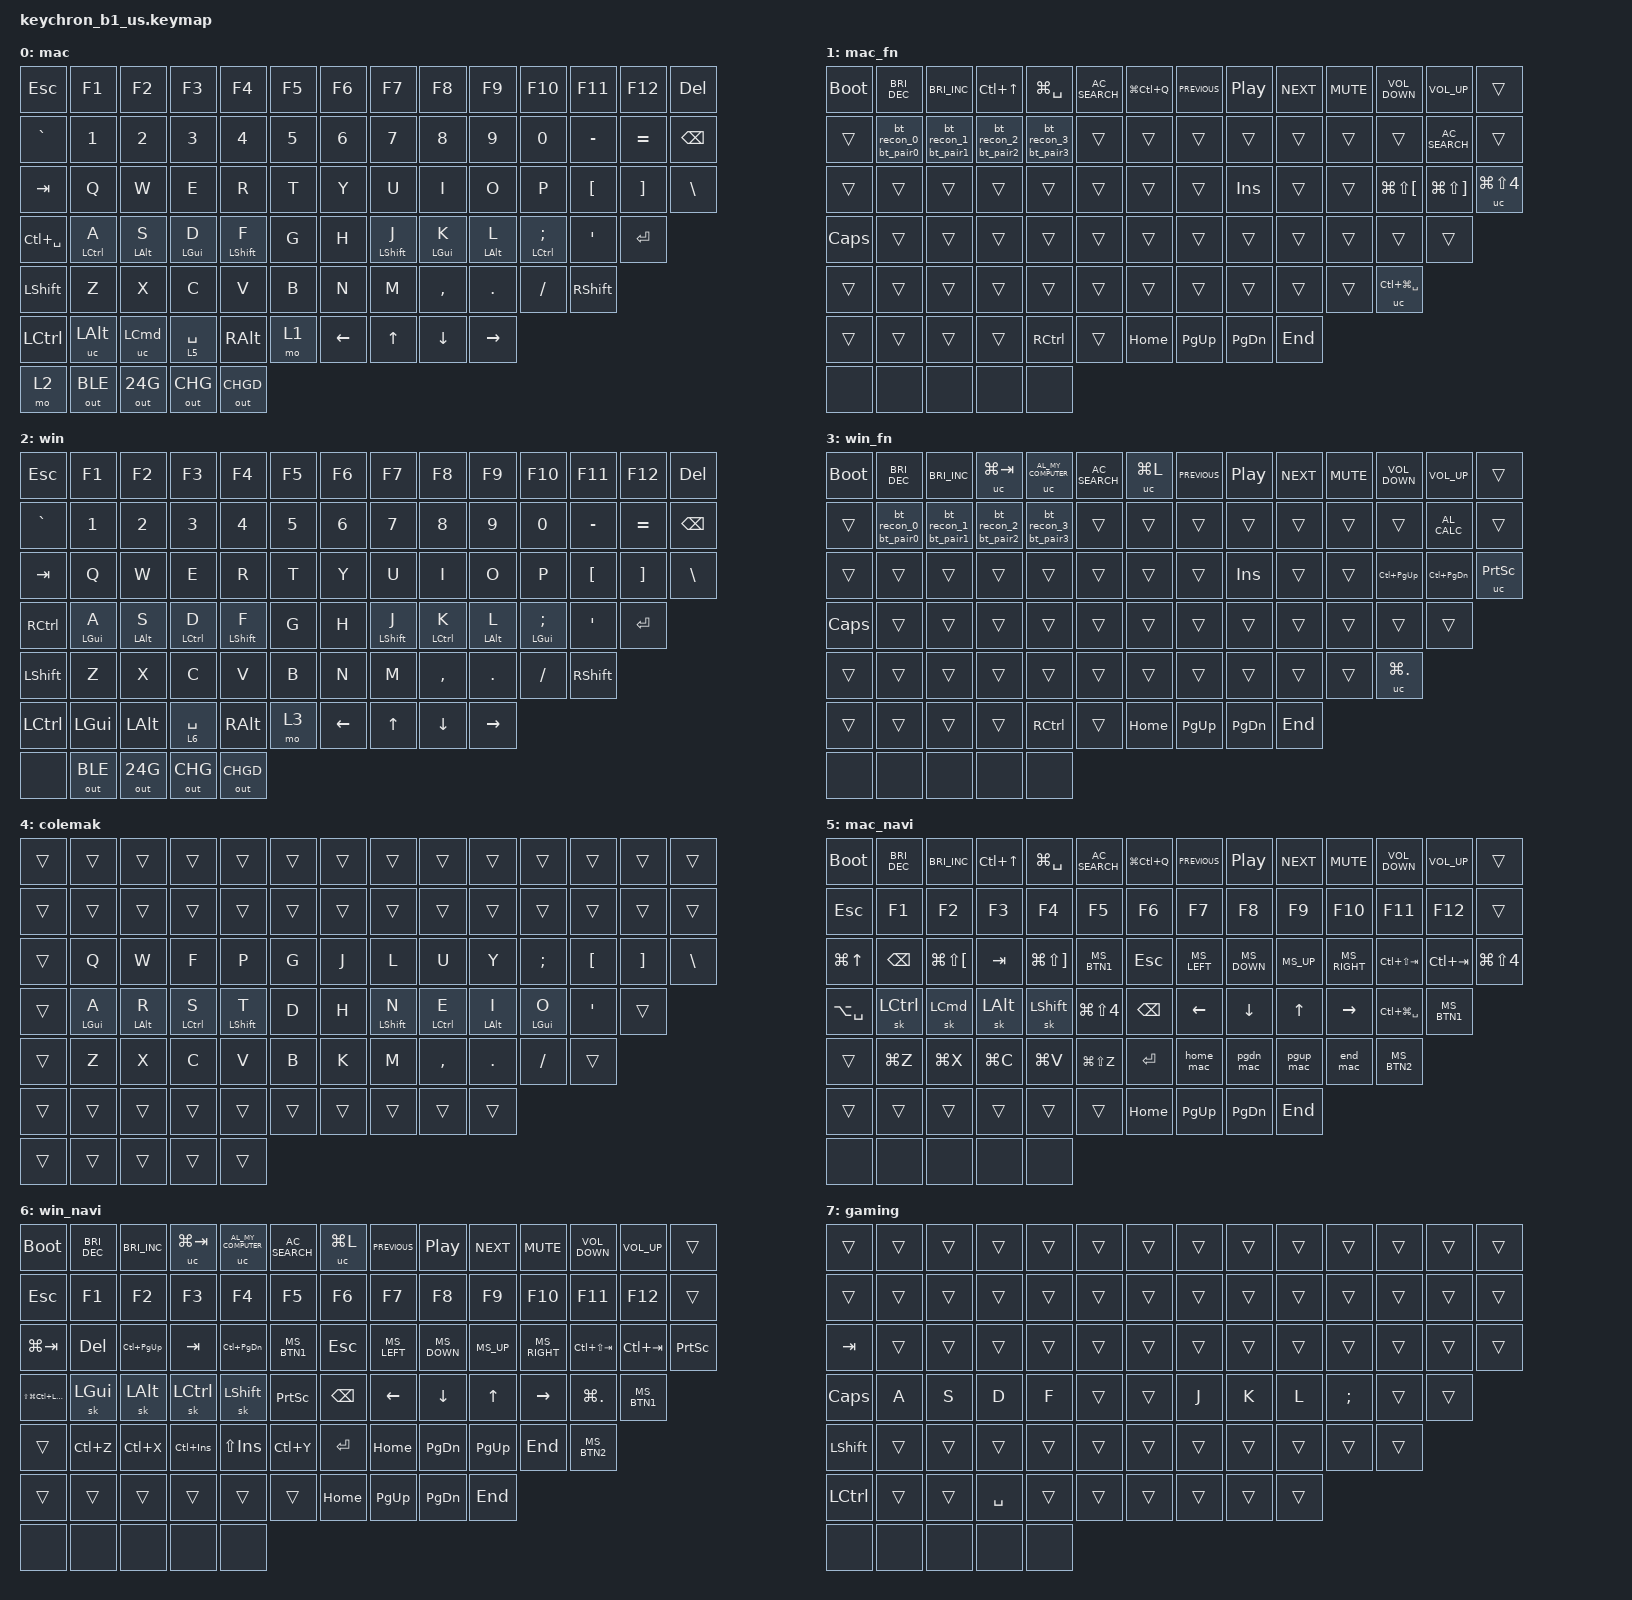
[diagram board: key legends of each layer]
/*
 * Copyright (c) 2023 The ZMK Contributors
 *
 * SPDX-License-Identifier: MIT
 */

#include <behaviors.dtsi>
#include <dt-bindings/zmk/keys.h>
#include <dt-bindings/zmk/rgb.h>
#include <dt-bindings/zmk/bt.h>
#include <dt-bindings/zmk/outputs.h>

#define PINKY_TAP_MS 150
#define RING_TAP_MS 140
#define MIDDLE_TAP_MS 140
#define INDEX_TAP_MS 100
#define LT_TAP_MS 150

// Mouse usages encoded for behavior_key_press: (HID_USAGE_GEN_BUTTON << 16) | usage
#define MS_LEFT  0x000900CF
#define MS_DOWN  0x000900CE
#define MS_UP    0x000900CD
#define MS_RIGHT 0x000900D0
#define MS_BTN1  0x000900D1
#define MS_BTN2  0x000900D2

&lt {
    tapping-term-ms = <LT_TAP_MS>;
};

/ {
    ZMK_MACRO(recover, bindings = <&out OUT_RECOVER>;)
    ZMK_MACRO(change, bindings = <&out OUT_FN>;)
    ZMK_MACRO(fn_win, bindings = <&out OUT_FN_WIN>;)

    ZMK_MACRO(en_bootloader, bindings = <&bootloader>;)
    ZMK_MACRO1(MA,bindings=<&kp 0x770000>;)

    macro {

        in_below: in_below {
            compatible = "zmk,behavior-macro";
            #binding-cells = <0>;
            bindings = <&kp END &kp LS(RET)>;
            label = "IN_BELOW";
        };

        in_above: in_above {
            compatible = "zmk,behavior-macro";
            #binding-cells = <0>;
            bindings = <&kp HOME &kp LS(RET) &kp UP>;
            label = "IN_ABOVE";
            wait-ms = <0>;
        };

        in_below_mac: in_below_mac {
            compatible = "zmk,behavior-macro";
            #binding-cells = <0>;
            bindings = <&kp LG(RIGHT) &kp LS(RET)>;
            label = "IN_BELOW_MAC";
        };

        in_above_mac: in_above_mac {
            compatible = "zmk,behavior-macro";
            #binding-cells = <0>;
            bindings = <&kp LG(LEFT) &kp LS(RET) &kp UP>;
            label = "IN_ABOVE_MAC";
            wait-ms = <0>;
        };

        delete_to_row_start: delete_to_row_start {
            compatible = "zmk,behavior-macro";
            #binding-cells = <0>;
            bindings = <&kp LS(HOME) &kp BSPC>;
            label = "DELETE_TO_ROW_START";
        };

        lg_tog_colemak: lg_tog_colemak {
            compatible = "zmk,behavior-macro";
            #binding-cells = <0>;
            bindings = <&tog 4 &kp LC(SPACE)>;
            label = "LG_TOG_COLEMAK";
        };

    };

    combos1 {
        compatible = "zmk,combos";

        combo_en_keep {
            bindings = <&kp LC(SPACE)>;
            key-positions = <5 6>;
            layers = <4>;
        };

        combo_ru_keep {
            bindings = <&kp LC(SPACE)>;
            key-positions = <6 7>;
            layers = <0 2>;
        };

        combo_en_switch {
            bindings = <&lg_tog_colemak>;
            key-positions = <5 6>;
            layers = <0 2>;
        };

        combo_ru_switch {
            bindings = <&lg_tog_colemak>;
            key-positions = <6 7>;
            layers = <4>;
        };

        combo_typing_keep {
            bindings = <&none>;
            key-positions = <9 10>;
            layers = <0 2>;
        };

        combo_gaming_keep {
            bindings = <&none>;
            key-positions = <10 11>;
            layers = <7>;
        };

        combo_typing_switch {
            bindings = <&tog 7>;
            key-positions = <9 10>;
            layers = <7>;
        };

        combo_gaming_switch {
            bindings = <&tog 7>;
            key-positions = <10 11>;
            layers = <0 2>;
        };

        combo_lang_en {
            bindings = <&kp LC(LS(N8))>;
            key-positions = <30 32>;
            layers = <0 2>;
        };

        combo_lang_ru {
            bindings = <&kp LC(LS(N7))>;
            key-positions = <35 37>;
            layers = <0 2>;
        };

    };

    behaviors {
        mt_pinky: mt_pinky {
            compatible = "zmk,behavior-hold-tap";
            label = "MT_PINKY";
            #binding-cells = <2>;
            flavor = "tap-preferred";
            tapping-term-ms = <PINKY_TAP_MS>;
            quick-tap-ms = <0>;
            bindings = <&kp>, <&kp>;
        };
        mt_ring: mt_ring {
            compatible = "zmk,behavior-hold-tap";
            label = "MT_RING";
            #binding-cells = <2>;
            flavor = "tap-preferred";
            tapping-term-ms = <RING_TAP_MS>;
            quick-tap-ms = <0>;
            bindings = <&kp>, <&kp>;
        };
        mt_middle: mt_middle {
            compatible = "zmk,behavior-hold-tap";
            label = "MT_MIDDLE";
            #binding-cells = <2>;
            flavor = "tap-preferred";
            tapping-term-ms = <MIDDLE_TAP_MS>;
            quick-tap-ms = <0>;
            bindings = <&kp>, <&kp>;
        };
        mt_index: mt_index {
            compatible = "zmk,behavior-hold-tap";
            label = "MT_INDEX";
            #binding-cells = <2>;
            flavor = "balanced";
            tapping-term-ms = <INDEX_TAP_MS>;
            quick-tap-ms = <0>;
            bindings = <&kp>, <&kp>;
        };
   
        home_mac: home_mac {
            compatible = "zmk,behavior-mod-morph";
            label = "HOME_MAC";
            bindings = <&kp LG(LEFT)>, <&kp LG(UP)>;
            #binding-cells = <0>;
            mods = <(MOD_LALT)>;
            keep-mods = <0>;
        };

        end_mac: end_mac {
            compatible = "zmk,behavior-mod-morph";
            label = "END_MAC";
            bindings = <&kp LG(RIGHT)>, <&kp LG(DOWN)>;
            #binding-cells = <0>;
            mods = <(MOD_LALT)>;
            keep-mods = <0>;
        };

        pgup_mac: pgup_mac {
            compatible = "zmk,behavior-mod-morph";
            label = "PGUP_MAC";
            bindings = <&kp PG_UP>, <&kp LG(LS(LBKT))>;
            #binding-cells = <0>;
            mods = <(MOD_LALT)>;
            keep-mods = <0>;
        };

        pgdn_mac: pgdn_mac {
            compatible = "zmk,behavior-mod-morph";
            label = "PGDN_MAC";
            bindings = <&kp PG_DN>, <&kp LG(LS(RBKT))>;
            #binding-cells = <0>;
            mods = <(MOD_LALT)>;
            keep-mods = <0>;
        };

    };

    td0 {
        compatible = "zmk,behavior-tap-dance";
        label = "TAPD_LAYER";
        #binding-cells = <1>;
        tapping-term-ms = <350>;
        bindings =<&mo 0>,<&mo 0>,<&mo 0>,<&mo 0>,<&to 0>;
    };
    ZMK_MACRO(bt_pair0, bindings = <&bt BT_PAIR 0>;)
    ZMK_MACRO(bt_pair1, bindings = <&bt BT_PAIR 1>;)
    ZMK_MACRO(bt_pair2, bindings = <&bt BT_PAIR 2>;)
    ZMK_MACRO(bt_pair3, bindings = <&bt BT_PAIR 3>;)
    ZMK_MACRO(bt_recon_0, bindings = <&bt BT_SEL 0>;)
    ZMK_MACRO(bt_recon_1, bindings = <&bt BT_SEL 1>;)
    ZMK_MACRO(bt_recon_2, bindings = <&bt BT_SEL 2>;)
    ZMK_MACRO(bt_recon_3, bindings = <&bt BT_SEL 3>;)



    bt_pair_0: bt_pair_0 {
        compatible = "zmk,behavior-hold-tap";
        label = "bt_pair0";
        #binding-cells = <2>;
        flavor = "tap-preferred";
        tapping-term-ms = <3000>;  // delay amount in ms
        bindings = <&bt_pair0>, <&bt_recon_0>;
    };
    bt_pair_1: bt_pair_1 {
        compatible = "zmk,behavior-hold-tap";
        label = "bt_pair1";
        #binding-cells = <2>;
        flavor = "tap-preferred";
        tapping-term-ms = <3000>;  // delay amount in ms
        bindings = <&bt_pair1>, <&bt_recon_1>;
    };
    bt_pair_2: bt_pair_2 {
        compatible = "zmk,behavior-hold-tap";
        label = "bt_pair2";
        #binding-cells = <2>;
        flavor = "tap-preferred";
        tapping-term-ms = <3000>;  // delay amount in ms
        bindings = <&bt_pair2>, <&bt_recon_2>;
    };
    bt_pair_3: bt_pair_3 {
        compatible = "zmk,behavior-hold-tap";
        label = "bt_pair3";
        #binding-cells = <2>;
        flavor = "tap-preferred";
        tapping-term-ms = <3000>;  // delay amount in ms
        bindings = <&bt_pair3>, <&bt_recon_3>;
    };
    uc:user_custom {
        compatible = "zmk,behavior-key-press";
        label ="user_custom";
        #binding-cells =<1>;
    };

	keymap {
    	compatible = "zmk,keymap";

        // 0
        mac {
        bindings = <
        &kp ESC        &kp F1             &kp F2           &kp F3             &kp F4             &kp F5  &kp F6    &kp F7             &kp F8             &kp F9           &kp F10               &kp F11    &kp F12    &kp DEL
        &kp GRAVE      &kp N1             &kp N2           &kp N3             &kp N4             &kp N5  &kp N6    &kp N7             &kp N8             &kp N9           &kp N0                &kp MINUS  &kp EQUAL  &kp BSPC
        &kp TAB        &kp Q              &kp W            &kp E              &kp R              &kp T   &kp Y     &kp U              &kp I              &kp O            &kp P                 &kp LBKT   &kp RBKT   &kp BSLH
        &kp LC(SPACE)  &mt_pinky LCTRL A  &mt_ring LALT S  &mt_middle LGUI D  &mt_index LSHFT F  &kp G   &kp H     &mt_index LSHFT J  &mt_middle LGUI K  &mt_ring LALT L  &mt_pinky LCTRL SEMI  &kp SQT    &kp RET
        &kp LSHFT      &kp Z              &kp X            &kp C              &kp V              &kp B   &kp N     &kp M              &kp COMMA          &kp DOT          &kp FSLH              &kp RSHFT
        &kp LCTRL      &uc LALT           &uc LCMD         &lt 5 SPACE        &kp RALT           &mo 1   &kp LEFT  &kp UP             &kp DOWN           &kp RIGHT
        &mo 2          &out OUT_BLE       &out OUT_24G     &out OUT_CHG       &out OUT_CHGD
            >;
        };

       // 1
        mac_fn  {
        bindings = <
          //ESC         //f1                    //f2                //f3                                    //f4                //f5                //f6            //f7            //f8                //f9        //f10       //f11               //f12               //DEL
   &bootloader  &kp C_BRIGHTNESS_DEC  &kp C_BRIGHTNESS_INC  &kp LC(UP)      &kp  LG(SPACE)  &kp C_AC_SEARCH  &kp LG(LC(Q))  &kp C_PREVIOUS  &kp C_PLAY_PAUSE  &kp C_NEXT  &kp C_MUTE  &kp C_VOLUME_DOWN  &kp C_VOLUME_UP   &trans
        &trans       &bt_pair_0 0 0        &bt_pair_1 0 0        &bt_pair_2 0 0  &bt_pair_3 0 0  &trans           &trans         &trans          &trans            &trans      &trans      &trans             &kp C_AC_SEARCH   &trans
        &trans       &trans                &trans                &trans          &trans          &trans           &trans         &trans          &kp INS           &trans      &trans      &kp LG(LS(LBKT))   &kp LG(LS(RBKT))  &uc LG(LS(N4))
        &kp CAPS     &trans                &trans                &trans          &trans          &trans           &trans         &trans          &trans            &trans      &trans      &trans             &trans
        &trans       &trans                &trans                &trans          &trans          &trans           &trans         &trans          &trans            &trans      &trans      &uc LC(LG(SPACE))
        &trans       &trans                &trans                &trans          &kp RCTRL       &trans           &kp HOME       &kp PG_UP       &kp PG_DN         &kp END
        //
        &none        &none                 &none                 &none           &none
            >;
        };

        // 2
        win {
        bindings = <
        &kp ESC        &kp F1            &kp F2           &kp F3              &kp F4             &kp F5  &kp F6    &kp F7             &kp F8              &kp F9           &kp F10              &kp F11    &kp F12    &kp DEL
        &kp GRAVE      &kp N1            &kp N2           &kp N3              &kp N4             &kp N5  &kp N6    &kp N7             &kp N8              &kp N9           &kp N0               &kp MINUS  &kp EQUAL  &kp BSPC
        &kp TAB        &kp Q             &kp W            &kp E               &kp R              &kp T   &kp Y     &kp U              &kp I               &kp O            &kp P                &kp LBKT   &kp RBKT   &kp BSLH
        &kp RCTRL      &mt_pinky LGUI A  &mt_ring LALT S  &mt_middle LCTRL D  &mt_index LSHFT F  &kp G   &kp H     &mt_index LSHFT J  &mt_middle LCTRL K  &mt_ring LALT L  &mt_pinky LGUI SEMI  &kp SQT    &kp RET
        &kp LSHFT      &kp Z             &kp X            &kp C               &kp V              &kp B   &kp N     &kp M              &kp COMMA           &kp DOT          &kp FSLH             &kp RSHFT
        &kp LCTRL      &kp LGUI          &kp LALT         &lt 6 SPACE         &kp RALT           &mo 3   &kp LEFT  &kp UP             &kp DOWN            &kp RIGHT
        //
        &none          &out OUT_BLE      &out OUT_24G     &out OUT_CHG        &out OUT_CHGD
            >;
        };

        // 3
        win_fn {
        bindings = <
                    //f1                    //f2                    //f3                                //f4                        //f5            //f6              //f7            //f8              //f9        //f10           //f11                         //f12
   &bootloader  &kp C_BRIGHTNESS_DEC  &kp C_BRIGHTNESS_INC  &uc LG(TAB)     &uc C_AL_MY_COMPUTER  &kp C_AC_SEARCH  &uc LG(L)  &kp C_PREVIOUS  &kp C_PLAY_PAUSE  &kp C_NEXT  &kp C_MUTE  &kp C_VOLUME_DOWN  &kp C_VOLUME_UP  &trans
        &trans       &bt_pair_0 0 0        &bt_pair_1 0 0        &bt_pair_2 0 0  &bt_pair_3 0 0        &trans           &trans     &trans          &trans            &trans      &trans      &trans             &kp C_AL_CALC    &trans
        &trans       &trans                &trans                &trans          &trans                &trans           &trans     &trans          &kp INS           &trans      &trans      &kp LC(PG_UP)      &kp LC(PG_DN)    &uc PSCRN
        &kp CAPS     &trans                &trans                &trans          &trans                &trans           &trans     &trans          &trans            &trans      &trans      &trans             &trans
        &trans       &trans                &trans                &trans          &trans                &trans           &trans     &trans          &trans            &trans      &trans      &uc LG(DOT)
        &trans       &trans                &trans                &trans          &kp RCTRL             &trans           &kp HOME   &kp PG_UP       &kp PG_DN         &kp END
        //
        &none        &none                 &none                 &none           &none
            >;
        };
        
        // 4
        colemak {
        bindings = <
        &trans  &trans            &trans           &trans              &trans             &trans  &trans  &trans             &trans              &trans           &trans            &trans    &trans    &trans
        &trans  &trans            &trans           &trans              &trans             &trans  &trans  &trans             &trans              &trans           &trans            &trans    &trans    &trans
        &trans  &kp Q             &kp W            &kp F               &kp P              &kp G   &kp J   &kp L              &kp U               &kp Y            &kp SEMI          &kp LBKT  &kp RBKT  &kp BSLH
        &trans  &mt_pinky LGUI A  &mt_ring LALT R  &mt_middle LCTRL S  &mt_index LSHFT T  &kp D   &kp H   &mt_index LSHFT N  &mt_middle LCTRL E  &mt_ring LALT I  &mt_pinky LGUI O  &kp SQT   &trans
        &trans  &kp Z             &kp X            &kp C               &kp V              &kp B   &kp K   &kp M              &kp COMMA           &kp DOT          &kp FSLH          &trans
        &trans  &trans            &trans           &trans              &trans             &trans  &trans  &trans             &trans              &trans
        //
        &trans  &trans            &trans           &trans              &trans
            >;
        };

        // 5
        mac_navi {
        bindings = <
   &bootloader         &kp C_BRIGHTNESS_DEC  &kp C_BRIGHTNESS_INC  &kp LC(UP)  &kp LG(SPACE)     &kp C_AC_SEARCH  &kp LG(LC(Q))  &kp C_PREVIOUS  &kp C_PLAY_PAUSE  &kp C_NEXT  &kp C_MUTE   &kp C_VOLUME_DOWN  &kp C_VOLUME_UP  &trans
        &kp ESC        &kp F1                &kp F2                &kp F3      &kp F4            &kp F5           &kp F6         &kp F7          &kp F8            &kp F9      &kp F10      &kp F11            &kp F12          &trans
        &kp LG(UP)     &kp BSPC              &kp LG(LS(LBKT))      &kp TAB     &kp LG(LS(RBKT))  &kp MS_BTN1      &kp ESC        &kp MS_LEFT     &kp MS_DOWN       &kp MS_UP   &kp MS_RIGHT &kp LC(LS(TAB))    &kp LC(TAB)      &kp LG(LS(N4))
        &kp LA(SPACE)  &sk LCTRL             &sk LCMD              &sk LALT    &sk LSHFT         &kp LG(LS(N4))   &kp BSPC       &kp LEFT        &kp DOWN          &kp UP      &kp RIGHT    &kp LC(LG(SPACE))  &kp MS_BTN1
        &trans         &kp LG(Z)             &kp LG(X)             &kp LG(C)   &kp LG(V)         &kp LG(LS(Z))    &kp RET        &home_mac       &pgdn_mac         &pgup_mac   &end_mac     &kp MS_BTN2
        &trans         &trans                &trans                &trans      &trans            &trans           &kp HOME       &kp PG_UP       &kp PG_DN         &kp END
        //
        &none          &none                 &none                 &none       &none
            >;
        };

        // 6
        win_navi {
        bindings = <
   &bootloader                &kp C_BRIGHTNESS_DEC  &kp C_BRIGHTNESS_INC  &uc LG(TAB)  &uc C_AL_MY_COMPUTER  &kp C_AC_SEARCH  &uc LG(L)   &kp C_PREVIOUS  &kp C_PLAY_PAUSE      &kp C_NEXT  &kp C_MUTE   &kp C_VOLUME_DOWN  &kp C_VOLUME_UP  &trans
        &kp ESC               &kp F1                &kp F2                &kp F3       &kp F4                &kp F5           &kp F6      &kp F7          &kp F8                &kp F9      &kp F10      &kp F11            &kp F12          &trans
        &kp LG(TAB)           &kp DEL               &kp LC(PG_UP)         &kp TAB      &kp LC(PG_DN)         &kp MS_BTN1      &kp ESC     &kp MS_LEFT     &kp MS_DOWN           &kp MS_UP   &kp MS_RIGHT &kp LC(LS(TAB))    &kp LC(TAB)      &kp PSCRN
        &kp LS(LG(LC(LALT)))  &sk LGUI              &sk LALT              &sk LCTRL    &sk LSHFT             &kp PSCRN        &kp BSPC    &kp LEFT        &kp DOWN              &kp UP      &kp RIGHT    &kp LG(DOT)        &kp MS_BTN1
        &trans                &kp LC(Z)             &kp LC(X)             &kp LC(INS)  &kp LS(INS)           &kp LC(Y)        &kp RET     &kp HOME        &kp PG_DN             &kp PG_UP   &kp END      &kp MS_BTN2
        &trans                &trans                &trans                &trans       &trans                &trans           &kp HOME    &kp PG_UP       &kp PG_DN             &kp END
        //
        &none                 &none                 &none                 &none        &none
            >;
        };

        // 7
        gaming {
        bindings = <
                    //f1                    //f2                    //f3                                //f4                        //f5            //f6              //f7            //f8              //f9        //f10           //f11                         //f12
        &trans     &trans  &trans  &trans     &trans  &trans  &trans  &trans  &trans  &trans  &trans    &trans  &trans  &trans
        &trans     &trans  &trans  &trans     &trans  &trans  &trans  &trans  &trans  &trans  &trans    &trans  &trans  &trans
        &kp TAB    &trans  &trans  &trans     &trans  &trans  &trans  &trans  &trans  &trans  &trans    &trans  &trans  &trans
        &kp CAPS   &kp A   &kp S   &kp D      &kp F   &trans  &trans  &kp J   &kp K   &kp L   &kp SEMI  &trans  &trans
        &kp LSHFT  &trans  &trans  &trans     &trans  &trans  &trans  &trans  &trans  &trans  &trans    &trans
        &kp LCTRL  &trans  &trans  &kp SPACE  &trans  &trans  &trans  &trans  &trans  &trans
        //
        &none      &none   &none   &none      &none
            >;
        };

	};
};


